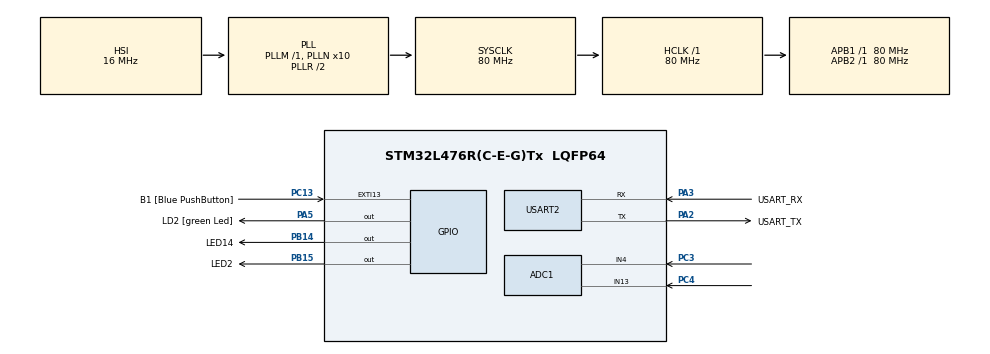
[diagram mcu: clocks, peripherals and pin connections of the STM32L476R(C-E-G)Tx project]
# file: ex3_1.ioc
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ADC1.Channel-0\#ChannelRegularConversion=ADC_CHANNEL_4
ADC1.Channel-1\#ChannelRegularConversion=ADC_CHANNEL_13
ADC1.NbrOfConversion=2
ADC1.NbrOfConversionFlag=1
ADC1.OffsetNumber-0\#ChannelRegularConversion=ADC_OFFSET_NONE
ADC1.OffsetNumber-1\#ChannelRegularConversion=ADC_OFFSET_NONE
ADC1.Rank-0\#ChannelRegularConversion=1
ADC1.Rank-1\#ChannelRegularConversion=2
ADC1.SamplingTime-0\#ChannelRegularConversion=ADC_SAMPLETIME_92CYCLES_5
ADC1.SamplingTime-1\#ChannelRegularConversion=ADC_SAMPLETIME_92CYCLES_5
ADC1.master=1
Mcu.Family=STM32L4
Mcu.Name=STM32L476R(C-E-G)Tx
Mcu.Package=LQFP64
NVIC.ADC1_2_IRQn=true\:0\:0\:false\:false\:true\:true\:true
NVIC.PriorityGroup=NVIC_PRIORITYGROUP_4
NVIC.USART2_IRQn=true\:0\:0\:false\:false\:true\:true\:true
PA13\ (JTMS-SWDIO).GPIO_Label=TMS
PA13\ (JTMS-SWDIO).Mode=Serial_Wire
PA13\ (JTMS-SWDIO).Signal=SYS_JTMS-SWDIO
PA14\ (JTCK-SWCLK).GPIO_Label=TCK
PA14\ (JTCK-SWCLK).Mode=Serial_Wire
PA14\ (JTCK-SWCLK).Signal=SYS_JTCK-SWCLK
PA2.GPIO_Label=USART_TX
PA2.GPIO_Mode=GPIO_MODE_AF_PP
PA2.GPIO_PuPd=GPIO_NOPULL
PA2.GPIO_Speed=GPIO_SPEED_FREQ_VERY_HIGH
PA2.Mode=Asynchronous
PA2.Signal=USART2_TX
PA3.GPIO_Label=USART_RX
PA3.GPIO_Mode=GPIO_MODE_AF_PP
PA3.GPIO_PuPd=GPIO_NOPULL
PA3.GPIO_Speed=GPIO_SPEED_FREQ_VERY_HIGH
PA3.Mode=Asynchronous
PA3.Signal=USART2_RX
PA5.GPIO_Label=LD2 [green Led]
PA5.GPIO_ModeDefaultOutputPP=GPIO_MODE_OUTPUT_PP
PA5.GPIO_PuPd=GPIO_NOPULL
PA5.GPIO_Speed=GPIO_SPEED_FREQ_LOW
PA5.Signal=GPIO_Output
PB14.GPIO_Label=LED14
PB14.Signal=GPIO_Output
PB15.GPIO_Label=LED2
PB15.Signal=GPIO_Output
PB3\ (JTDO-TRACESWO).GPIO_Label=SWO
PB3\ (JTDO-TRACESWO).Signal=SYS_JTDO-SWO
PC13.GPIO_Label=B1 [Blue PushButton]
PC13.GPIO_ModeDefaultEXTI=GPIO_MODE_IT_FALLING
PC13.GPIO_PuPd=GPIO_NOPULL
PC13.Signal=GPXTI13
PC14-OSC32_IN\ (PC14).Mode=LSE-External-Oscillator
PC14-OSC32_IN\ (PC14).Signal=RCC_OSC32_IN
PC15-OSC32_OUT\ (PC15).Mode=LSE-External-Oscillator
PC15-OSC32_OUT\ (PC15).Signal=RCC_OSC32_OUT
PC3.Signal=ADCx_IN4
PC4.Signal=ADCx_IN13
PH0-OSC_IN\ (PH0).Signal=RCC_OSC_IN
PH1-OSC_OUT\ (PH1).Signal=RCC_OSC_OUT
ProjectManager.HeapSize=0x200
ProjectManager.StackSize=0x400
ProjectManager.TargetToolchain=STM32CubeIDE
RCC.ADCFreq_Value=64000000
RCC.AHBFreq_Value=80000000
RCC.APB1Freq_Value=80000000
RCC.APB1TimFreq_Value=80000000
RCC.APB2Freq_Value=80000000
RCC.APB2TimFreq_Value=80000000
RCC.CortexFreq_Value=80000000
RCC.HCLKFreq_Value=80000000
RCC.HSE_VALUE=8000000
RCC.HSI_VALUE=16000000
RCC.MSI_VALUE=4000000
RCC.PLLN=10
RCC.PLLSourceVirtual=RCC_PLLSOURCE_HSI
RCC.PREFETCH_ENABLE=1
RCC.SYSCLKFreq_VALUE=80000000
RCC.SYSCLKSource=RCC_SYSCLKSOURCE_PLLCLK
RCC.USBFreq_Value=64000000
RCC.VCOOutputFreq_Value=160000000
SH.ADCx_IN13.0=ADC1_IN13,IN13-Single-Ended
SH.ADCx_IN4.0=ADC1_IN4,IN4-Single-Ended
USART2.VirtualMode-Asynchronous=VM_ASYNC
board=NUCLEO-L476RG

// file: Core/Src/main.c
/* USER CODE BEGIN Header */
/**
  ******************************************************************************
  * @file           : main.c
  * @brief          : Main program body
  ******************************************************************************
  * @attention
  *
  * <h2><center>&copy; Copyright (c) 2021 STMicroelectronics.
  * All rights reserved.</center></h2>
  *
  * This software component is licensed by ST under BSD 3-Clause license,
  * the "License"; You may not use this file except in compliance with the
  * License. You may obtain a copy of the License at:
  *                        opensource.org/licenses/BSD-3-Clause
  *
  ******************************************************************************
  */
/* USER CODE END Header */
#include "main.h"
#include "adc.h"
#include "usart.h"
#include "gpio.h"

/* USER CODE BEGIN Includes */
#include <stdio.h>
/* USER CODE END Includes */

/* USER CODE BEGIN PV */
volatile uint8_t flag;
volatile uint16_t Value[2];
uint8_t k;
/* USER CODE END PV */

void SystemClock_Config(void);
/* USER CODE BEGIN PFP */
int _write(int file, char *ptr, int len){
	HAL_UART_Transmit_IT(&huart2, ptr, len);
	return len;
}
void HAL_ADC_ConvCpltCallback(ADC_HandleTypeDef* hadc){
	if(hadc== &hadc1){
		Value[0]=HAL_ADC_GetValue(&hadc1);
		LL_ADC_REG_SetSequencerRanks(ADC1, LL_ADC_REG_RANK_2, LL_ADC_CHANNEL_13);
		Value[1]=HAL_ADC_GetValue(&hadc1);
		LL_ADC_REG_SetSequencerRanks(ADC1, LL_ADC_REG_RANK_1, LL_ADC_CHANNEL_4);
		flag=1;
	}
}
/* USER CODE END PFP */

int main(void)
{
  /* USER CODE BEGIN 1 */
	uint8_t k=0;
  /* USER CODE END 1 */

  /* MCU Configuration--------------------------------------------------------*/

  /* Reset of all peripherals, Initializes the Flash interface and the Systick. */
  HAL_Init();

  /* Configure the system clock */
  SystemClock_Config();

  /* Initialize all configured peripherals */
  MX_GPIO_Init();
  MX_USART2_UART_Init();
  MX_ADC1_Init();
  /* USER CODE BEGIN 2 */
  HAL_ADC_Start_IT(&hadc1);
  HAL_GPIO_WritePin(LED14_GPIO_Port, LED14_Pin, GPIO_PIN_SET);
	  HAL_GPIO_WritePin(LED2_GPIO_Port, LED2_Pin, GPIO_PIN_SET);
  /* USER CODE END 2 */

  /* Infinite loop */
  /* USER CODE BEGIN WHILE */
  while (1)
  {
	  if(flag ==1){

		  printf(" 1 Zmierzona wartoscto: %d \r\n" , Value[0] );
		  HAL_Delay(10);
		  printf(" 2 Zmierzona wartoscto: %d \r\n" , Value[1] );
		  HAL_Delay(10);
		  k=Value[0]/Value[1]-1;
		  printf("k wynosi:  %d \r\n" , k );
		  flag=0;
		  HAL_ADC_Start_IT(&hadc1);
	  }

	  HAL_Delay(1000);

    /* USER CODE END WHILE */

  }
}

void SystemClock_Config(void)
{
  RCC_OscInitTypeDef RCC_OscInitStruct = {0};
  RCC_ClkInitTypeDef RCC_ClkInitStruct = {0};
  RCC_PeriphCLKInitTypeDef PeriphClkInit = {0};

  /** Initializes the RCC Oscillators according to the specified parameters
  * in the RCC_OscInitTypeDef structure.
  */
  RCC_OscInitStruct.OscillatorType = RCC_OSCILLATORTYPE_HSI;
  RCC_OscInitStruct.HSIState = RCC_HSI_ON;
  RCC_OscInitStruct.HSICalibrationValue = RCC_HSICALIBRATION_DEFAULT;
  RCC_OscInitStruct.PLL.PLLState = RCC_PLL_ON;
  RCC_OscInitStruct.PLL.PLLSource = RCC_PLLSOURCE_HSI;
  RCC_OscInitStruct.PLL.PLLM = 1;
  RCC_OscInitStruct.PLL.PLLN = 10;
  RCC_OscInitStruct.PLL.PLLP = RCC_PLLP_DIV7;
  RCC_OscInitStruct.PLL.PLLQ = RCC_PLLQ_DIV2;
  RCC_OscInitStruct.PLL.PLLR = RCC_PLLR_DIV2;
  if (HAL_RCC_OscConfig(&RCC_OscInitStruct) != HAL_OK)
  {
    Error_Handler();
  }
  /** Initializes the CPU, AHB and APB buses clocks
  */
  RCC_ClkInitStruct.ClockType = RCC_CLOCKTYPE_HCLK|RCC_CLOCKTYPE_SYSCLK
                              |RCC_CLOCKTYPE_PCLK1|RCC_CLOCKTYPE_PCLK2;
  RCC_ClkInitStruct.SYSCLKSource = RCC_SYSCLKSOURCE_PLLCLK;
  RCC_ClkInitStruct.AHBCLKDivider = RCC_SYSCLK_DIV1;
  RCC_ClkInitStruct.APB1CLKDivider = RCC_HCLK_DIV1;
  RCC_ClkInitStruct.APB2CLKDivider = RCC_HCLK_DIV1;

  if (HAL_RCC_ClockConfig(&RCC_ClkInitStruct, FLASH_LATENCY_4) != HAL_OK)
  {
    Error_Handler();
  }
  PeriphClkInit.PeriphClockSelection = RCC_PERIPHCLK_USART2|RCC_PERIPHCLK_ADC;
  PeriphClkInit.Usart2ClockSelection = RCC_USART2CLKSOURCE_PCLK1;
  PeriphClkInit.AdcClockSelection = RCC_ADCCLKSOURCE_PLLSAI1;
  PeriphClkInit.PLLSAI1.PLLSAI1Source = RCC_PLLSOURCE_HSI;
  PeriphClkInit.PLLSAI1.PLLSAI1M = 1;
  PeriphClkInit.PLLSAI1.PLLSAI1N = 8;
  PeriphClkInit.PLLSAI1.PLLSAI1P = RCC_PLLP_DIV7;
  PeriphClkInit.PLLSAI1.PLLSAI1Q = RCC_PLLQ_DIV2;
  PeriphClkInit.PLLSAI1.PLLSAI1R = RCC_PLLR_DIV2;
  PeriphClkInit.PLLSAI1.PLLSAI1ClockOut = RCC_PLLSAI1_ADC1CLK;
  if (HAL_RCCEx_PeriphCLKConfig(&PeriphClkInit) != HAL_OK)
  {
    Error_Handler();
  }
  /** Configure the main internal regulator output voltage
  */
  if (HAL_PWREx_ControlVoltageScaling(PWR_REGULATOR_VOLTAGE_SCALE1) != HAL_OK)
  {
    Error_Handler();
  }
}

void Error_Handler(void)
{
}

/************************ (C) COPYRIGHT STMicroelectronics *****END OF FILE****/
